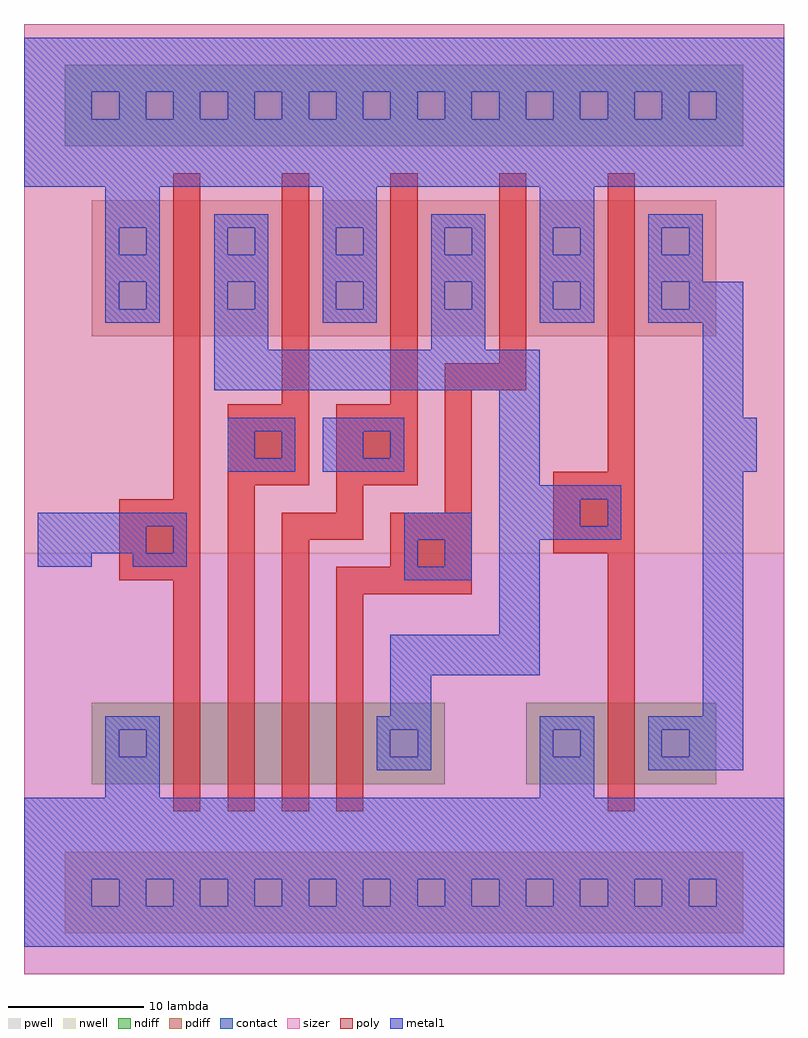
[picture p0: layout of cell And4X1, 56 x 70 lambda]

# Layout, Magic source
magic
tech LibreSilicon-test000-concept-mg-70-7
<< sizer >>
rect 0 0 56 70
<< metal1 >>
rect 0 65 56 69
rect 0 63 5 65
rect 7 63 9 65
rect 11 63 13 65
rect 15 63 17 65
rect 19 63 21 65
rect 23 63 25 65
rect 27 63 29 65
rect 31 63 33 65
rect 35 63 37 65
rect 39 63 41 65
rect 43 63 45 65
rect 47 63 49 65
rect 51 63 56 65
rect 0 58 56 63
rect 6 55 10 58
rect 22 55 26 58
rect 38 55 42 58
rect 14 55 18 56
rect 30 55 34 56
rect 46 55 50 56
rect 6 53 7 55
rect 9 53 10 55
rect 14 53 15 55
rect 17 53 18 55
rect 22 53 23 55
rect 25 53 26 55
rect 30 53 31 55
rect 33 53 34 55
rect 38 53 39 55
rect 41 53 42 55
rect 46 53 47 55
rect 49 53 50 55
rect 6 51 10 53
rect 14 51 18 53
rect 22 51 26 53
rect 30 51 34 53
rect 38 51 42 53
rect 46 51 50 53
rect 6 49 7 51
rect 9 49 10 51
rect 14 49 15 51
rect 17 49 18 51
rect 22 49 23 51
rect 25 49 26 51
rect 30 49 31 51
rect 33 49 34 51
rect 38 49 39 51
rect 41 49 42 51
rect 46 49 47 51
rect 49 49 53 51
rect 6 48 10 49
rect 14 46 18 49
rect 22 48 26 49
rect 30 46 34 49
rect 38 48 42 49
rect 46 48 53 49
rect 50 41 53 48
rect 14 43 38 46
rect 35 36 38 43
rect 15 40 20 41
rect 22 40 28 41
rect 50 37 54 41
rect 15 38 17 40
rect 19 38 20 40
rect 22 38 25 40
rect 27 38 28 40
rect 15 37 20 38
rect 22 37 28 38
rect 50 19 53 37
rect 35 35 44 36
rect 35 33 41 35
rect 43 33 44 35
rect 1 33 12 34
rect 28 32 33 34
rect 1 31 9 33
rect 11 31 12 33
rect 35 32 44 33
rect 28 30 29 32
rect 31 30 33 32
rect 35 25 38 32
rect 1 30 5 31
rect 8 30 12 31
rect 28 29 33 30
rect 27 22 38 25
rect 27 19 30 22
rect 6 18 10 19
rect 26 18 30 19
rect 38 18 42 19
rect 46 18 53 19
rect 6 16 7 18
rect 9 16 10 18
rect 26 16 27 18
rect 29 16 30 18
rect 38 16 39 18
rect 41 16 42 18
rect 46 16 47 18
rect 49 16 53 18
rect 6 13 10 16
rect 26 15 30 16
rect 38 13 42 16
rect 46 15 53 16
rect 0 7 56 13
rect 0 5 5 7
rect 7 5 9 7
rect 11 5 13 7
rect 15 5 17 7
rect 19 5 21 7
rect 23 5 25 7
rect 27 5 29 7
rect 31 5 33 7
rect 35 5 37 7
rect 39 5 41 7
rect 43 5 45 7
rect 47 5 49 7
rect 51 5 56 7
rect 0 2 56 5
<< contact >>
rect 5 63 7 65
rect 9 63 11 65
rect 13 63 15 65
rect 17 63 19 65
rect 21 63 23 65
rect 25 63 27 65
rect 29 63 31 65
rect 33 63 35 65
rect 37 63 39 65
rect 41 63 43 65
rect 45 63 47 65
rect 49 63 51 65
rect 7 53 9 55
rect 15 53 17 55
rect 23 53 25 55
rect 31 53 33 55
rect 39 53 41 55
rect 47 53 49 55
rect 7 49 9 51
rect 15 49 17 51
rect 23 49 25 51
rect 31 49 33 51
rect 39 49 41 51
rect 47 49 49 51
rect 17 38 19 40
rect 25 38 27 40
rect 41 33 43 35
rect 9 31 11 33
rect 29 30 31 32
rect 7 16 9 18
rect 27 16 29 18
rect 39 16 41 18
rect 47 16 49 18
rect 5 5 7 7
rect 9 5 11 7
rect 13 5 15 7
rect 17 5 19 7
rect 21 5 23 7
rect 25 5 27 7
rect 29 5 31 7
rect 33 5 35 7
rect 37 5 39 7
rect 41 5 43 7
rect 45 5 47 7
rect 49 5 51 7
<< poly >>
rect 11 35 13 59
rect 19 42 21 59
rect 27 42 29 59
rect 35 45 37 59
rect 43 37 45 59
rect 31 43 37 45
rect 31 34 33 43
rect 15 36 21 42
rect 23 36 29 42
rect 39 31 45 37
rect 15 12 17 36
rect 23 34 25 36
rect 7 29 13 35
rect 19 32 25 34
rect 27 30 33 34
rect 19 12 21 32
rect 43 12 45 31
rect 23 28 33 30
rect 11 12 13 29
rect 23 12 25 28
<< ndiff >>
rect 3 61 53 67
rect 5 14 31 20
rect 37 14 51 20
<< pdiff >>
rect 5 47 51 57
rect 3 3 53 9
<< nwell >>
rect 0 31 56 70
<< pwell >>
rect 0 0 56 31
<< end >>
